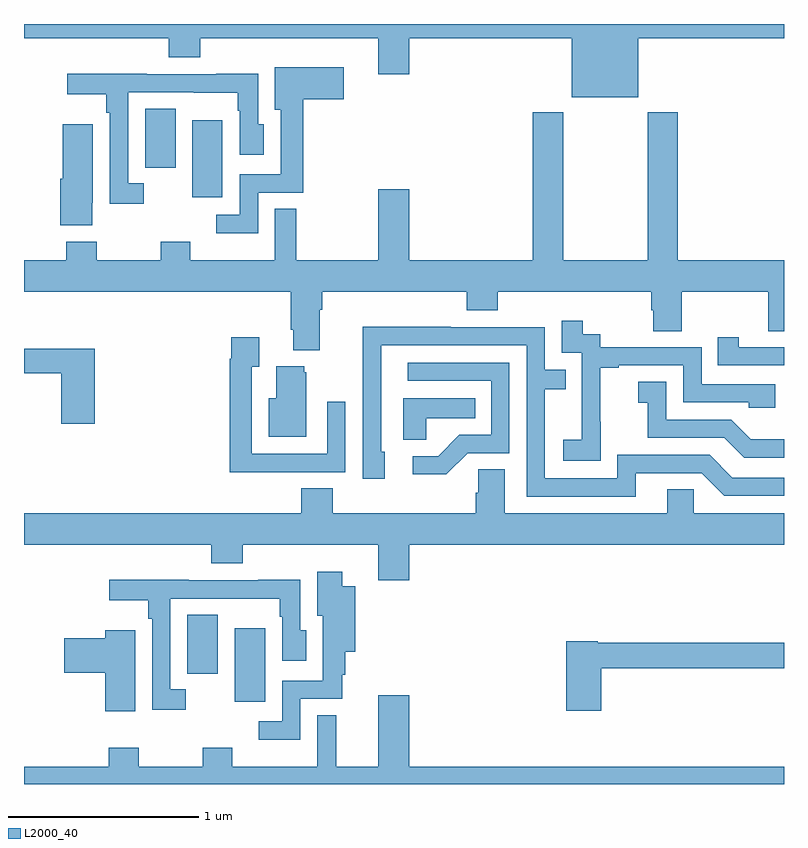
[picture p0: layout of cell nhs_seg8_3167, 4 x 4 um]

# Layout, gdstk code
import gdstk
lib = gdstk.Library(unit=1e-6, precision=1e-09)
def R(c, l, rs):  # rectangles x0, y0, x1, y1
    for r in rs: c.add(gdstk.rectangle(r[:2], r[2:], *l))
def P(c, l, *ps):  # polygons
    for p in ps: c.add(gdstk.Polygon(p, *l))
L2000_40 = (2000, 40)

nhs_seg8_3167 = lib.new_cell('nhs_seg8_3167')
R(nhs_seg8_3167, L2000_40, [(308.108,1122.332,308.269,1122.721), (307.859,1122.48,308.02,1122.791), (307.886,1124.988,308.044,1125.394), (307.637,1125.144,307.798,1125.455)])
P(nhs_seg8_3167, L2000_40, [(310.234,1125.824),(311,1125.824),(311,1125.9),(307,1125.9),(307,1125.824),(307.763,1125.824),(307.763,1125.725),(307.928,1125.725),(307.928,1125.824),(308.864,1125.824),(308.864,1125.636),(309.028,1125.636),(309.028,1125.824),(309.884,1125.824),(309.884,1125.515),(310.234,1125.515)],
  [(308.232,1125.012),(308.47,1125.012),(308.47,1125.503),(308.683,1125.503),(308.683,1125.673),(308.321,1125.673),(308.321,1125.449),(308.351,1125.449),(308.351,1125.108),(308.136,1125.108),(308.136,1124.895),(308.013,1124.895),(308.013,1124.798),(308.232,1124.798)],
  [(307.63,1125.063),(307.548,1125.063),(307.548,1125.54),(307.894,1125.54),(307.894,1125.539),(308.124,1125.539),(308.124,1125.443),(308.136,1125.443),(308.136,1125.213),(308.263,1125.213),(308.263,1125.372),(308.232,1125.372),(308.232,1125.638),(308.011,1125.638),(308.011,1125.636),(307.645,1125.636),(307.645,1125.638),(307.227,1125.638),(307.227,1125.53),(307.432,1125.53),(307.432,1125.434),(307.452,1125.434),(307.452,1124.955),(307.63,1124.955)],
  [(308.557,1124.396),(308.57,1124.396),(308.57,1124.492),(309.329,1124.492),(309.329,1124.393),(309.494,1124.393),(309.494,1124.492),(310.301,1124.492),(310.301,1124.394),(310.313,1124.394),(310.313,1124.284),(310.461,1124.284),(310.461,1124.492),(310.918,1124.492),(310.918,1124.284),(311,1124.284),(311,1124.656),(310.442,1124.656),(310.442,1125.436),(310.282,1125.436),(310.282,1124.656),(309.837,1124.656),(309.837,1125.436),(309.677,1125.436),(309.677,1124.656),(309.028,1124.656),(309.028,1125.031),(308.864,1125.031),(308.864,1124.656),(308.432,1124.656),(308.432,1124.927),(308.321,1124.927),(308.321,1124.656),(307.875,1124.656),(307.875,1124.755),(307.72,1124.755),(307.72,1124.656),(307.383,1124.656),(307.383,1124.755),(307.223,1124.755),(307.223,1124.656),(307,1124.656),(307,1124.492),(308.405,1124.492),(308.405,1124.29),(308.417,1124.29),(308.417,1124.183),(308.557,1124.183)],
  [(307.36,1124.958),(307.363,1124.958),(307.363,1125.373),(307.205,1125.373),(307.205,1125.086),(307.19,1125.086),(307.19,1124.84),(307.36,1124.84)],
  [(310.035,1123.807),(310.034,1123.807),(310.034,1124.091),(310.129,1124.091),(310.129,1124.103),(310.47,1124.103),(310.47,1123.908),(310.815,1123.908),(310.815,1123.881),(310.955,1123.881),(310.955,1124.004),(310.566,1124.004),(310.566,1124.199),(310.032,1124.199),(310.032,1124.268),(309.94,1124.268),(309.94,1124.338),(309.831,1124.338),(309.831,1124.169),(309.936,1124.169),(309.936,1123.94),(309.935,1123.94),(309.935,1123.711),(309.837,1123.711),(309.837,1123.601),(310.035,1123.601)],
  [(310.219,1123.536),(310.566,1123.536),(310.686,1123.416),(311,1123.416),(311,1123.512),(310.728,1123.512),(310.608,1123.632),(310.122,1123.632),(310.122,1123.509),(309.741,1123.509),(309.741,1123.978),(309.851,1123.978),(309.851,1124.079),(309.741,1124.079),(309.741,1124.304),(309.245,1124.304),(309.245,1124.306),(308.782,1124.306),(308.782,1123.999),(308.784,1123.999),(308.784,1123.506),(308.899,1123.506),(308.899,1123.65),(308.88,1123.65),(308.88,1124.208),(309.645,1124.208),(309.645,1123.413),(310.219,1123.413)],
  [(308.375,1123.542),(308.691,1123.542),(308.691,1123.912),(308.595,1123.912),(308.595,1123.638),(308.199,1123.638),(308.199,1124.095),(308.239,1124.095),(308.239,1124.251),(308.091,1124.251),(308.091,1124.138),(308.083,1124.138),(308.083,1123.541),(308.375,1123.541)],
  [(311,1124.199),(310.762,1124.199),(310.762,1124.251),(310.651,1124.251),(310.651,1124.103),(311,1124.103)],
  [(307.373,1124.191),(307,1124.191),(307,1124.062),(307.195,1124.062),(307.195,1123.797),(307.373,1123.797)],
  [(309.336,1123.641),(309.555,1123.641),(309.555,1124.118),(309.021,1124.118),(309.021,1124.022),(309.459,1124.022),(309.459,1123.737),(309.29,1123.737),(309.179,1123.626),(309.045,1123.626),(309.045,1123.529),(309.223,1123.529)],
  [(308.485,1124.067),(308.474,1124.067),(308.474,1124.098),(308.327,1124.098),(308.327,1123.93),(308.288,1123.93),(308.288,1123.727),(308.485,1123.727)],
  [(311,1123.714),(310.826,1123.714),(310.722,1123.818),(310.38,1123.818),(310.38,1124.017),(310.233,1124.017),(310.233,1123.907),(310.282,1123.907),(310.282,1123.722),(310.685,1123.722),(310.79,1123.617),(311,1123.617)],
  [(309.117,1123.826),(309.374,1123.826),(309.374,1123.93),(308.996,1123.93),(308.996,1123.711),(309.117,1123.711)],
  [(309.028,1123.16),(311,1123.16),(311,1123.324),(310.524,1123.324),(310.524,1123.451),(310.385,1123.451),(310.385,1123.324),(309.529,1123.324),(309.529,1123.556),(309.39,1123.556),(309.39,1123.433),(309.377,1123.433),(309.377,1123.324),(308.624,1123.324),(308.624,1123.457),(308.459,1123.457),(308.459,1123.324),(307,1123.324),(307,1123.16),(307.985,1123.16),(307.985,1123.061),(308.15,1123.061),(308.15,1123.16),(308.864,1123.16),(308.864,1122.972),(309.028,1122.972)],
  [(308.454,1122.348),(308.674,1122.348),(308.674,1122.476),(308.692,1122.476),(308.692,1122.596),(308.744,1122.596),(308.744,1122.94),(308.674,1122.94),(308.674,1123.018),(308.543,1123.018),(308.543,1122.785),(308.573,1122.785),(308.573,1122.444),(308.358,1122.444),(308.358,1122.231),(308.235,1122.231),(308.235,1122.134),(308.454,1122.134)],
  [(307.852,1122.399),(307.77,1122.399),(307.77,1122.876),(308.116,1122.876),(308.116,1122.875),(308.346,1122.875),(308.346,1122.779),(308.358,1122.779),(308.358,1122.549),(308.485,1122.549),(308.485,1122.708),(308.454,1122.708),(308.454,1122.974),(308.233,1122.974),(308.233,1122.972),(307.867,1122.972),(307.867,1122.974),(307.449,1122.974),(307.449,1122.866),(307.654,1122.866),(307.654,1122.77),(307.674,1122.77),(307.674,1122.291),(307.852,1122.291)],
  [(307.585,1122.709),(307.427,1122.709),(307.427,1122.668),(307.212,1122.668),(307.212,1122.485),(307.427,1122.485),(307.427,1122.282),(307.585,1122.282)],
  [(310.037,1122.508),(311,1122.508),(311,1122.644),(310.02,1122.644),(310.02,1122.652),(309.854,1122.652),(309.854,1122.285),(310.037,1122.285)],
  [(311,1121.992),(309.028,1121.992),(309.028,1122.367),(308.864,1122.367),(308.864,1121.992),(308.644,1121.992),(308.644,1122.263),(308.543,1122.263),(308.543,1121.992),(308.097,1121.992),(308.097,1122.091),(307.942,1122.091),(307.942,1121.992),(307.605,1121.992),(307.605,1122.091),(307.445,1122.091),(307.445,1121.992),(307,1121.992),(307,1121.9),(311,1121.9)])

lib.write_gds('nhs_seg8_3167.gds')
